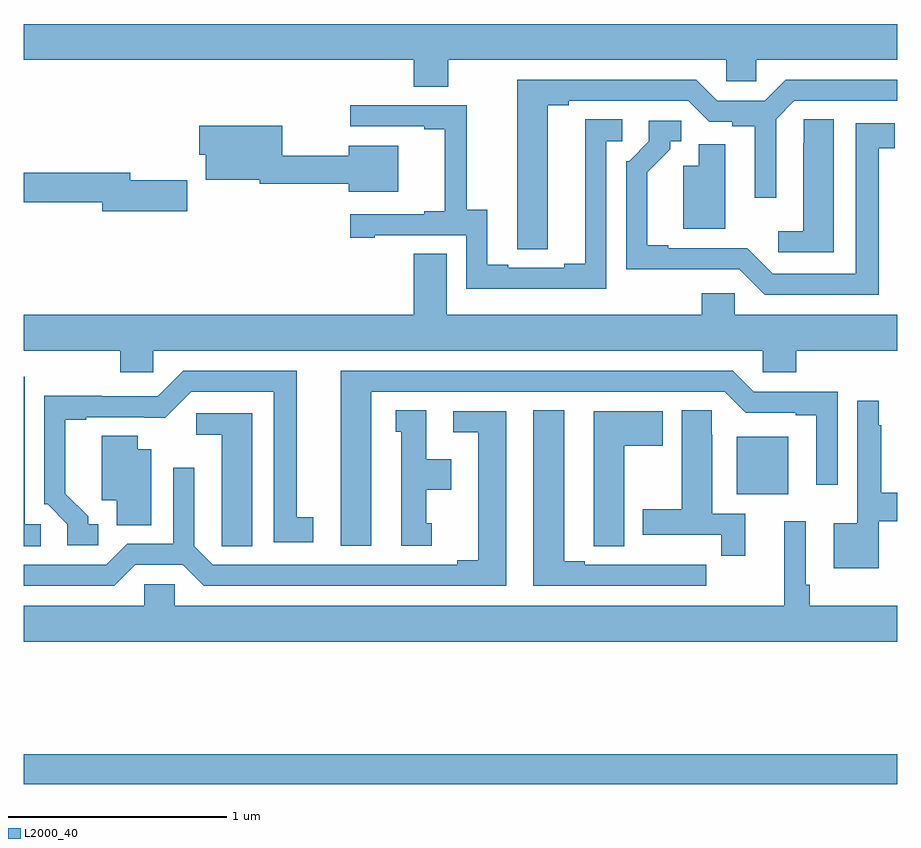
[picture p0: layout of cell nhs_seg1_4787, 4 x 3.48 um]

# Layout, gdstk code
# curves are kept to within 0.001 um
import gdstk
lib = gdstk.Library(unit=1e-6, precision=1e-09)
def R(c, l, rs):  # rectangles x0, y0, x1, y1
    for r in rs: c.add(gdstk.rectangle(r[:2], r[2:], *l))
def P(c, l, *ps):  # polygons
    for p in ps: c.add(gdstk.Polygon(p, *l))
L2000_40 = (2000, 40)

nhs_seg1_4787 = lib.new_cell('nhs_seg1_4787')
R(nhs_seg1_4787, L2000_40, [(371,512.452,375,512.588), (374.264,513.779,374.5,514.042)])
P(nhs_seg1_4787, L2000_40, [(372.945,515.768),(374.217,515.768),(374.217,515.67),(374.355,515.67),(374.355,515.768),(375,515.768),(375,515.932),(371,515.932),(371,515.768),(372.785,515.768),(372.785,515.644),(372.945,515.644)],
  [(373.399,515.56),(373.495,515.56),(373.495,515.58),(374.043,515.58),(374.139,515.484),(374.244,515.484),(374.244,515.464),(374.348,515.464),(374.348,515.136),(374.445,515.136),(374.445,515.496),(374.529,515.58),(375,515.58),(375,515.676),(374.489,515.676),(374.393,515.58),(374.175,515.58),(374.079,515.676),(373.259,515.676),(373.26,514.9),(373.399,514.9)],
  [(373.668,515.394),(373.741,515.394),(373.741,515.495),(373.571,515.495),(373.571,514.835),(373.475,514.835),(373.475,514.815),(373.219,514.815),(373.219,514.83),(373.123,514.83),(373.123,515.081),(373.029,515.081),(373.029,515.559),(372.495,515.559),(372.495,515.463),(372.833,515.463),(372.833,515.451),(372.929,515.451),(372.929,515.074),(372.833,515.074),(372.833,515.061),(372.495,515.061),(372.495,514.953),(372.607,514.953),(372.607,514.965),(373.026,514.965),(373.026,514.719),(373.668,514.719)],
  [(374.71,515.495),(374.571,515.495),(374.571,515.387),(374.57,515.387),(374.57,514.984),(374.454,514.984),(374.454,514.887),(374.71,514.887)],
  [(374.914,515.362),(374.989,515.362),(374.989,515.478),(374.81,515.478),(374.81,514.788),(374.43,514.788),(374.313,514.905),(373.951,514.905),(373.951,514.918),(373.855,514.918),(373.855,515.254),(373.96,515.359),(373.96,515.394),(374.01,515.394),(374.01,515.49),(373.863,515.49),(373.863,515.394),(373.773,515.304),(373.758,515.304),(373.758,514.808),(374.277,514.809),(374.394,514.692),(374.914,514.692)],
  [(372.715,515.374),(372.488,515.374),(372.488,515.329),(372.184,515.329),(372.184,515.467),(371.804,515.467),(371.804,515.333),(371.834,515.333),(371.834,515.219),(372.08,515.219),(372.08,515.2),(372.488,515.2),(372.488,515.165),(372.715,515.165)],
  [(374.212,515.382),(374.09,515.382),(374.09,515.284),(374.021,515.284),(374.021,514.994),(374.212,514.994)],
  [(371.749,515.216),(371.488,515.216),(371.488,515.252),(371,515.252),(371,515.116),(371.36,515.116),(371.36,515.074),(371.749,515.074)],
  [(371.592,514.436),(374.385,514.436),(374.385,514.338),(374.537,514.338),(374.537,514.436),(375,514.436),(375,514.6),(374.256,514.6),(374.256,514.698),(374.105,514.698),(374.105,514.6),(372.937,514.6),(372.937,514.88),(372.785,514.88),(372.785,514.6),(371,514.6),(371,514.436),(371.441,514.436),(371.441,514.338),(371.592,514.338)],
  [(371.341,513.642),(371.296,513.642),(371.296,513.677),(371.191,513.782),(371.191,514.119),(371.287,514.119),(371.287,514.131),(371.648,514.13),(371.766,514.248),(372.146,514.248),(372.146,513.558),(372.325,513.558),(372.325,513.674),(372.25,513.674),(372.25,514.344),(371.73,514.344),(371.613,514.227),(371.357,514.227),(371.357,514.229),(371.094,514.229),(371.094,513.732),(371.109,513.732),(371.199,513.642),(371.199,513.546),(371.341,513.546)],
  [(372.592,514.248),(374.211,514.248),(374.307,514.152),(374.534,514.152),(374.534,514.14),(374.63,514.14),(374.63,513.822),(374.727,513.822),(374.727,514.248),(374.343,514.248),(374.247,514.344),(372.452,514.344),(372.452,513.543),(372.592,513.543)],
  [(371.077,513.642),(371.004,513.642),(371.004,514.317),(371,514.317),(371,513.541),(371.077,513.541)],
  [(374.914,513.656),(375,513.656),(375,513.786),(374.926,513.786),(374.926,514.094),(374.914,514.094),(374.914,514.207),(374.817,514.207),(374.817,513.646),(374.708,513.646),(374.708,513.44),(374.914,513.44)],
  [(372.868,513.645),(372.844,513.645),(372.844,513.8),(372.958,513.8),(372.958,513.94),(372.844,513.94),(372.844,514.163),(372.704,514.163),(372.704,514.065),(372.728,514.065),(372.728,513.543),(372.868,513.543)],
  [(374.303,513.69),(374.152,513.69),(374.152,514.052),(374.151,514.052),(374.151,514.163),(374.012,514.163),(374.012,513.711),(373.835,513.711),(373.835,513.594),(374.194,513.594),(374.194,513.498),(374.303,513.498)],
  [(374.125,513.456),(374.012,513.456),(374.012,513.457),(373.846,513.457),(373.846,513.456),(373.57,513.456),(373.57,513.471),(373.474,513.471),(373.474,514.163),(373.334,514.163),(373.334,513.36),(374.125,513.36)],
  [(373.75,514),(373.927,514),(373.927,514.159),(373.61,514.159),(373.61,513.649),(373.611,513.649),(373.611,513.541),(373.75,513.541)],
  [(371.511,513.456),(371.729,513.456),(371.825,513.36),(373.21,513.36),(373.21,514.158),(372.966,514.158),(372.966,514.062),(373.082,514.062),(373.082,513.476),(372.986,513.476),(372.986,513.456),(371.865,513.456),(371.781,513.54),(371.781,513.901),(371.685,513.901),(371.685,513.552),(371.475,513.552),(371.379,513.456),(371,513.456),(371,513.36),(371.415,513.36)],
  [(372.046,514.149),(371.79,514.149),(371.79,514.052),(371.906,514.052),(371.906,513.649),(371.907,513.649),(371.907,513.541),(372.046,513.541)],
  [(371.584,513.985),(371.521,513.985),(371.521,514.046),(371.357,514.046),(371.357,513.752),(371.426,513.752),(371.426,513.637),(371.584,513.637)],
  [(375,513.268),(374.6,513.268),(374.6,513.364),(374.58,513.364),(374.58,513.655),(374.483,513.655),(374.483,513.268),(371.691,513.268),(371.691,513.366),(371.553,513.366),(371.553,513.268),(371,513.268),(371,513.104),(375,513.104)])

lib.write_gds('nhs_seg1_4787.gds')
